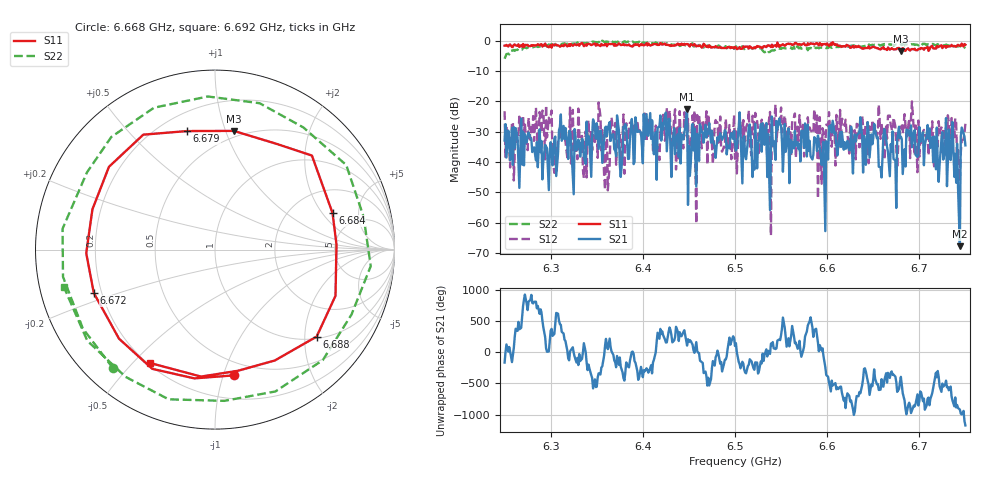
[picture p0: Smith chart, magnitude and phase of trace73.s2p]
# Hz S RI R 50
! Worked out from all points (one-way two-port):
!   401 points, 6.25 GHz to 6.75 GHz, reference 50 ohm
!   highest |S21| = -22.52 dB at 6.448 GHz (marker M1); lowest = -67.8 dB at 6.744 GHz (marker M2)
!   lowest |S11| = -3.5 dB at 6.68 GHz (marker M3), VSWR 5.05, Z = 22.3 + j53.4 ohm
!   |S11| at or under -10 dB: nowhere
!   |S22| runs from -6.0 to 0.0 dB; largest |S21 - S12| = 0.11
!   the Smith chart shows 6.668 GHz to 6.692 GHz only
!   S11 on the Smith chart (normalised r, x): 6.668 GHz: 0.39, -1.09; 6.672 GHz: 0.17, -0.17; 6.679 GHz: 0.30, +0.74; 6.684 GHz: 3.29, +2.54; 6.688 GHz: 1.05, -2.29; 6.692 GHz: 0.21, -0.56
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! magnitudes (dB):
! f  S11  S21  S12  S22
! 6.25 GHz  -1.7  -32.9  -23.3  -6.0
! 6.334 GHz  -0.8  -32.3  -31.4  -0.8
! 6.351 GHz  -1.5  -29.8  -38.7  -0.6
! 6.36 GHz  -1.1  -28.4  -29.8  -0.3
! 6.368 GHz  -1.2  -30.8  -30.5  -0.6
! 6.418 GHz  -1.4  -28.3  -39.4  -0.8
! 6.448 GHz  -1.1  -22.5  -31.8  -1.5
! 6.5 GHz  -2.1  -34.0  -39.0  -2.5
! 6.584 GHz  -1.1  -39.2  -30.2  -2.6
! 6.592 GHz  -0.8  -35.3  -25.2  -2.3
! 6.6 GHz  -0.9  -35.1  -27.7  -2.1
! 6.605 GHz  -1.5  -30.3  -35.0  -2.4
! 6.668 GHz  -3.0  -44.7  -24.7  -1.2
! 6.672 GHz  -2.9  -39.0  -25.4  -1.6
! 6.679 GHz  -3.4  -32.2  -31.0  -1.5
! 6.68 GHz  -3.5  -31.7  -28.8  -1.2
! 6.684 GHz  -3.3  -35.9  -24.3  -1.5
! 6.688 GHz  -2.6  -29.6  -28.2  -1.5
! 6.692 GHz  -2.8  -35.2  -20.0  -1.2
! 6.738 GHz  -1.8  -45.0  -31.9  -1.8
! 6.744 GHz  -1.7  -67.8  -46.3  -1.8
! 6.75 GHz  -1.4  -34.6  -27.4  -2.5
